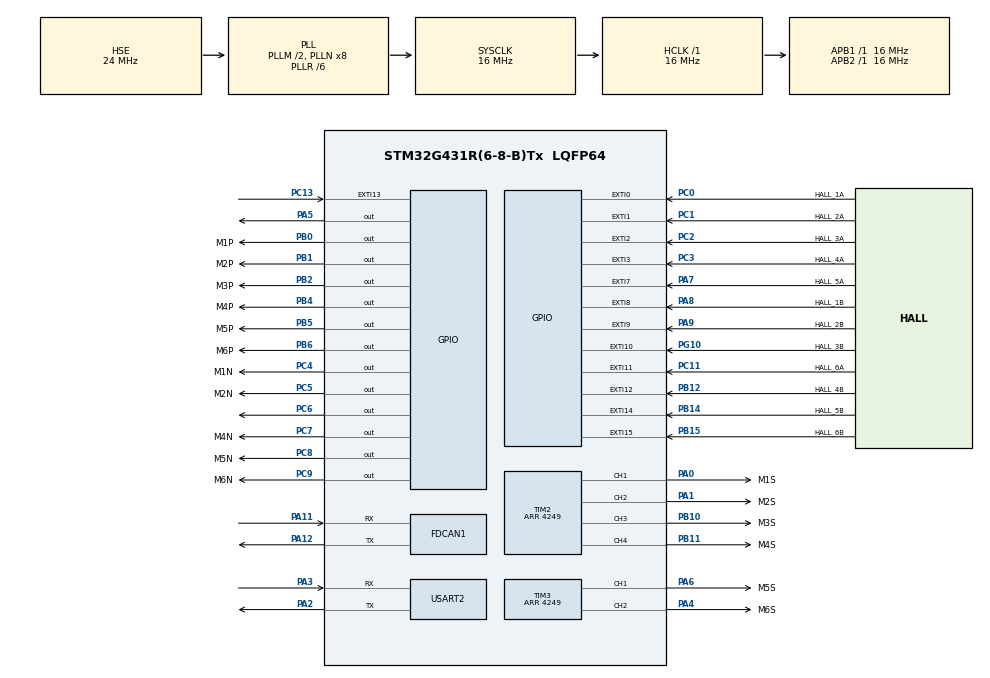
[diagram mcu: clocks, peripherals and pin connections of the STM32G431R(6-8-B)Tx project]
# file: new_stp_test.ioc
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FDCAN1.CalculateBaudRateNominal=125000
FDCAN1.CalculateTimeBitNominal=8000
FDCAN1.CalculateTimeQuantumNominal=500.0
FDCAN1.NominalPrescaler=8
FDCAN1.NominalTimeSeg1=11
FDCAN1.NominalTimeSeg2=4
Mcu.Family=STM32G4
Mcu.Name=STM32G431R(6-8-B)Tx
Mcu.Package=LQFP64
NUCLEO-G431RB.BUTTON=1
NUCLEO-G431RB.LD1=true
NUCLEO-G431RB.VCP=true
NVIC.EXTI0_IRQn=true\:0\:0\:false\:false\:true\:true\:true\:true
NVIC.EXTI15_10_IRQn=true\:0\:0\:false\:false\:true\:false\:true\:true
NVIC.EXTI1_IRQn=true\:0\:0\:false\:false\:true\:true\:true\:true
NVIC.EXTI2_IRQn=true\:0\:0\:false\:false\:true\:true\:true\:true
NVIC.EXTI3_IRQn=true\:0\:0\:false\:false\:true\:true\:true\:true
NVIC.PriorityGroup=NVIC_PRIORITYGROUP_4
PA0.GPIO_Label=M1S
PA0.Signal=S_TIM2_CH1
PA1.GPIO_Label=M2S
PA1.Signal=S_TIM2_CH2
PA11.Mode=FDCAN_Activate
PA11.Signal=FDCAN1_RX
PA12.Mode=FDCAN_Activate
PA12.Signal=FDCAN1_TX
PA13.GPIO_Label=T_SWDIO
PA13.Signal=SYS_JTMS-SWDIO
PA14.GPIO_Label=T_SWCLK
PA14.Signal=SYS_JTCK-SWCLK
PA2.Mode=Asynchronous
PA2.Signal=USART2_TX
PA3.Mode=Asynchronous
PA3.Signal=USART2_RX
PA4.GPIO_Label=M6S
PA4.Signal=S_TIM3_CH2
PA5.Signal=GPIO_Output
PA6.GPIO_Label=M5S
PA6.Signal=S_TIM3_CH1
PA7.GPIO_Label=HALL_5A
PA7.GPIO_ModeDefaultEXTI=GPIO_MODE_IT_RISING_FALLING
PA7.GPIO_PuPd=GPIO_PULLUP
PA7.Signal=GPXTI7
PA8.GPIO_Label=HALL_1B
PA8.GPIO_ModeDefaultEXTI=GPIO_MODE_IT_RISING_FALLING
PA8.GPIO_PuPd=GPIO_PULLUP
PA8.Signal=GPXTI8
PA9.GPIO_Label=HALL_2B
PA9.GPIO_ModeDefaultEXTI=GPIO_MODE_IT_RISING_FALLING
PA9.GPIO_PuPd=GPIO_PULLUP
PA9.Signal=GPXTI9
PB0.GPIO_Label=M1P
PB0.Signal=GPIO_Output
PB1.GPIO_Label=M2P
PB1.Signal=GPIO_Output
PB10.GPIO_Label=M3S
PB10.Signal=S_TIM2_CH3
PB11.GPIO_Label=M4S
PB11.Signal=S_TIM2_CH4
PB12.GPIO_Label=HALL_4B
PB12.GPIO_ModeDefaultEXTI=GPIO_MODE_IT_RISING_FALLING
PB12.GPIO_PuPd=GPIO_PULLUP
PB12.Signal=GPXTI12
PB14.GPIO_Label=HALL_5B
PB14.GPIO_ModeDefaultEXTI=GPIO_MODE_IT_RISING_FALLING
PB14.GPIO_PuPd=GPIO_PULLUP
PB14.Signal=GPXTI14
PB15.GPIO_Label=HALL_6B
PB15.GPIO_ModeDefaultEXTI=GPIO_MODE_IT_RISING_FALLING
PB15.GPIO_PuPd=GPIO_PULLUP
PB15.Signal=GPXTI15
PB2.GPIO_Label=M3P
PB2.Signal=GPIO_Output
PB3.GPIO_Label=T_SWO
PB3.Signal=SYS_JTDO-SWO
PB4.GPIO_Label=M4P
PB4.Signal=GPIO_Output
PB5.GPIO_Label=M5P
PB5.Signal=GPIO_Output
PB6.GPIO_Label=M6P
PB6.Signal=GPIO_Output
PC0.GPIO_Label=HALL_1A
PC0.GPIO_ModeDefaultEXTI=GPIO_MODE_IT_RISING_FALLING
PC0.GPIO_PuPd=GPIO_PULLUP
PC0.Signal=GPXTI0
PC1.GPIO_Label=HALL_2A
PC1.GPIO_ModeDefaultEXTI=GPIO_MODE_IT_RISING_FALLING
PC1.GPIO_PuPd=GPIO_PULLUP
PC1.Signal=GPXTI1
PC11.GPIO_Label=HALL_6A
PC11.GPIO_ModeDefaultEXTI=GPIO_MODE_IT_RISING_FALLING
PC11.GPIO_PuPd=GPIO_PULLUP
PC11.Signal=GPXTI11
PC13.Signal=GPXTI13
PC14-OSC32_IN.GPIO_Label=RCC_OSC32_OUT
PC14-OSC32_IN.Signal=RCC_OSC32_IN
PC15-OSC32_OUT.GPIO_Label=RCC_OSC32_OUT
PC15-OSC32_OUT.Signal=RCC_OSC32_OUT
PC2.GPIO_Label=HALL_3A
PC2.GPIO_ModeDefaultEXTI=GPIO_MODE_IT_RISING_FALLING
PC2.GPIO_PuPd=GPIO_PULLUP
PC2.Signal=GPXTI2
PC3.GPIO_Label=HALL_4A
PC3.GPIO_ModeDefaultEXTI=GPIO_MODE_IT_RISING_FALLING
PC3.GPIO_PuPd=GPIO_PULLUP
PC3.Signal=GPXTI3
PC4.GPIO_Label=M1N
PC4.Signal=GPIO_Output
PC5.GPIO_Label=M2N
PC5.Signal=GPIO_Output
PC6.Signal=GPIO_Output
PC7.GPIO_Label=M4N
PC7.Signal=GPIO_Output
PC8.GPIO_Label=M5N
PC8.Signal=GPIO_Output
PC9.GPIO_Label=M6N
PC9.Signal=GPIO_Output
PF0-OSC_IN.GPIO_Label=RCC_OSC_IN
PF0-OSC_IN.Mode=HSE-External-Oscillator
PF0-OSC_IN.Signal=RCC_OSC_IN
PF1-OSC_OUT.GPIO_Label=RCC_OSC_OUT
PF1-OSC_OUT.Mode=HSE-External-Oscillator
PF1-OSC_OUT.Signal=RCC_OSC_OUT
PG10-NRST.GPIO_Label=HALL_3B
PG10-NRST.GPIO_ModeDefaultEXTI=GPIO_MODE_IT_RISING_FALLING
PG10-NRST.GPIO_PuPd=GPIO_PULLUP
PG10-NRST.Signal=GPXTI10
ProjectManager.HeapSize=0x200
ProjectManager.StackSize=0x400
ProjectManager.TargetToolchain=STM32CubeIDE
RCC.ADC12Freq_Value=16000000
RCC.AHBFreq_Value=16000000
RCC.APB1Freq_Value=16000000
RCC.APB1TimFreq_Value=16000000
RCC.APB2Freq_Value=16000000
RCC.APB2TimFreq_Value=16000000
RCC.CortexFreq_Value=16000000
RCC.EXTERNAL_CLOCK_VALUE=12288000
RCC.HCLKFreq_Value=16000000
RCC.HSE_VALUE=24000000
RCC.HSI48_VALUE=48000000
RCC.HSI_VALUE=16000000
RCC.LSE_VALUE=32768
RCC.PLLM=RCC_PLLM_DIV2
RCC.PLLR=RCC_PLLR_DIV6
RCC.PLLSourceVirtual=RCC_PLLSOURCE_HSE
RCC.RTCClockSelection=RCC_RTCCLKSOURCE_LSE
RCC.SYSCLKFreq_VALUE=16000000
RCC.SYSCLKSource=RCC_SYSCLKSOURCE_PLLCLK
RCC.USBFreq_Value=48000000
RCC.VCOOutputFreq_Value=96000000
SH.S_TIM2_CH1.0=TIM2_CH1,PWM Generation1 CH1
SH.S_TIM2_CH2.0=TIM2_CH2,PWM Generation2 CH2
SH.S_TIM2_CH3.0=TIM2_CH3,PWM Generation3 CH3
SH.S_TIM2_CH4.0=TIM2_CH4,PWM Generation4 CH4
SH.S_TIM3_CH1.0=TIM3_CH1,PWM Generation1 CH1
SH.S_TIM3_CH2.0=TIM3_CH2,PWM Generation2 CH2
TIM1.Channel-PWM\ Generation1\ No\ Output=TIM_CHANNEL_1
TIM1.CounterMode=TIM_COUNTERMODE_CENTERALIGNED3
TIM1.PeriodNoDither=4249
TIM1.TIM_MasterOutputTrigger=TIM_TRGO_UPDATE
TIM1.TIM_MasterSlaveMode=TIM_MASTERSLAVEMODE_ENABLE
TIM2.Channel-PWM\ Generation1\ CH1=TIM_CHANNEL_1
TIM2.Channel-PWM\ Generation2\ CH2=TIM_CHANNEL_2
TIM2.Channel-PWM\ Generation3\ CH3=TIM_CHANNEL_3
TIM2.Channel-PWM\ Generation4\ CH4=TIM_CHANNEL_4
TIM2.CounterMode=TIM_COUNTERMODE_CENTERALIGNED3
TIM2.PeriodNoDither=4249
TIM2.PulseNoDither_2=2125
TIM2.PulseNoDither_3=2125
TIM2.PulseNoDither_4=2125
TIM3.Channel-PWM\ Generation1\ CH1=TIM_CHANNEL_1
TIM3.Channel-PWM\ Generation2\ CH2=TIM_CHANNEL_2
TIM3.CounterMode=TIM_COUNTERMODE_CENTERALIGNED3
TIM3.PeriodNoDither=4249
TIM3.PulseNoDither_1=2125
TIM3.PulseNoDither_2=2125
USART2.VirtualMode-Asynchronous=VM_ASYNC
VP_NUCLEO-G431RB_VS_BSP_COMMON.Mode=COMMON
VP_SYS_VS_DBSignals.Mode=DisableDeadBatterySignals
VP_TIM1_VS_ClockSourceINT.Mode=Internal
VP_TIM1_VS_no_output1.Mode=PWM Generation1 No Output
VP_TIM2_VS_ClockSourceINT.Mode=Internal
VP_TIM2_VS_ClockSourceITR.Mode=TriggerSource_ITR0
VP_TIM2_VS_ControllerModeReset.Mode=Reset Mode
VP_TIM3_VS_ClockSourceINT.Mode=Internal
VP_TIM3_VS_ClockSourceITR.Mode=TriggerSource_ITR0
VP_TIM3_VS_ControllerModeReset.Mode=Reset Mode
board=NUCLEO-G431RB

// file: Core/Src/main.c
/* USER CODE BEGIN Header */
/**
  ******************************************************************************
  * @file           : main.c
  * @brief          : Main program body
  ******************************************************************************
  * @attention
  *
  * Copyright (c) 2026 STMicroelectronics.
  * All rights reserved.
  *
  * This software is licensed under terms that can be found in the LICENSE file
  * in the root directory of this software component.
  * If no LICENSE file comes with this software, it is provided AS-IS.
  *
  ******************************************************************************
  */
/* USER CODE END Header */
#include "main.h"

COM_InitTypeDef BspCOMInit;
FDCAN_HandleTypeDef hfdcan1;

TIM_HandleTypeDef htim1;
TIM_HandleTypeDef htim2;
TIM_HandleTypeDef htim3;

UART_HandleTypeDef huart2;

/* USER CODE BEGIN PV */

//TIMERS
typedef struct {
    uint32_t now;
    uint32_t sec_marker;
    uint32_t count;
} timer;

volatile timer timer1;
volatile timer timer2;
volatile timer timer3_CAN_UDS;
volatile uint8_t timer1_flag = 0U;

//Motor states and stuff
typedef enum {
	SLEEP_STANDBY, // 0 0
	FORWARD_STANDBY, // 1 0
	BACKWARD_STANDBY, // 0 1
	FORWARD,
    BACKWARD,
    BRAKE,
} motor_state;

typedef struct{
	uint16_t ticks;
	uint16_t motorspeed;
} motor;

uint8_t mode = 1;

uint32_t full_cycle =  4249;

uint32_t p_pins = GPIO_PIN_0 | GPIO_PIN_1 | GPIO_PIN_2 | GPIO_PIN_4 | GPIO_PIN_5 | GPIO_PIN_6;
uint32_t n_pins = GPIO_PIN_4 | GPIO_PIN_5 | GPIO_PIN_6 | GPIO_PIN_7 | GPIO_PIN_8 | GPIO_PIN_9;
motor_state STP_dir;

uint8_t state = 0;

static motor motor1;
static motor motor2;
static motor motor3;
static motor motor4;
static motor motor5;
static motor motor6;
//
//Motor states and stuff

//

/* USER CODE END PV */

void SystemClock_Config(void);
static void MX_GPIO_Init(void);
static void MX_FDCAN1_Init(void);
static void MX_TIM1_Init(void);
static void MX_TIM2_Init(void);
static void MX_TIM3_Init(void);
static void MX_USART2_UART_Init(void);
/* USER CODE BEGIN PFP */
timer start_timer()
{
	timer timer;
    timer.now = HAL_GetTick();
    timer.sec_marker = 0U;
    timer.count = 0;
    return timer;
}

uint32_t elapsed(timer timer)
{
    return (uint32_t)(HAL_GetTick() - timer.now);
}

void go(){
	if(STP_dir == FORWARD_STANDBY){
	}

	if(STP_dir == BACKWARD_STANDBY){
		  GPIOB -> BSRR = p_pins;
		  GPIOC -> BSRR = (n_pins << 16);

	}
	if(STP_dir == SLEEP_STANDBY){
		  GPIOB -> BSRR = p_pins;

	}

	      HAL_TIM_PWM_Start(&htim2, TIM_CHANNEL_1);
		  HAL_TIM_PWM_Start(&htim2, TIM_CHANNEL_2);
		  HAL_TIM_PWM_Start(&htim2, TIM_CHANNEL_3);
		  HAL_TIM_PWM_Start(&htim2, TIM_CHANNEL_4);

		  HAL_TIM_PWM_Start(&htim3, TIM_CHANNEL_1);
		  HAL_TIM_PWM_Start(&htim3, TIM_CHANNEL_2);

		  HAL_TIM_PWM_Start(&htim1, TIM_CHANNEL_1);

		  STP_dir = FORWARD;

}

void back(){
	if(STP_dir == FORWARD_STANDBY){
		  GPIOC -> BSRR = n_pins;
		  GPIOB -> BSRR = (p_pins << 16);
	}
	if(STP_dir == SLEEP_STANDBY){
		  GPIOC -> BSRR = n_pins;
	}

	if(STP_dir == BACKWARD_STANDBY){

	}

	      HAL_TIM_PWM_Start(&htim2, TIM_CHANNEL_1);
		  HAL_TIM_PWM_Start(&htim2, TIM_CHANNEL_2);
		  HAL_TIM_PWM_Start(&htim2, TIM_CHANNEL_3);
		  HAL_TIM_PWM_Start(&htim2, TIM_CHANNEL_4);

		  HAL_TIM_PWM_Start(&htim3, TIM_CHANNEL_1);
		  HAL_TIM_PWM_Start(&htim3, TIM_CHANNEL_2);

		  HAL_TIM_PWM_Start(&htim1, TIM_CHANNEL_1);
		  STP_dir = BACKWARD;

}

void brake(){
	if(STP_dir == FORWARD){
		GPIOC -> BSRR = n_pins;
	}
	if(STP_dir == BACKWARD){
		GPIOB -> BSRR = p_pins;
	}

	STP_dir = BRAKE;
}

void sleep(){
	  HAL_TIM_PWM_Stop(&htim1, TIM_CHANNEL_1);   // master first
	  HAL_TIM_PWM_Stop(&htim2, TIM_CHANNEL_1);
	  HAL_TIM_PWM_Stop(&htim2, TIM_CHANNEL_2);
	  HAL_TIM_PWM_Stop(&htim2, TIM_CHANNEL_3);
	  HAL_TIM_PWM_Stop(&htim2, TIM_CHANNEL_4);

	  HAL_TIM_PWM_Stop(&htim3, TIM_CHANNEL_1);
	  HAL_TIM_PWM_Stop(&htim3, TIM_CHANNEL_2);

	  if (STP_dir == BACKWARD){
		  STP_dir = BACKWARD_STANDBY;
	  }

	  if (STP_dir == FORWARD){
		  STP_dir = FORWARD_STANDBY;
	  	  }
	  if (STP_dir == BRAKE){
		  GPIOC -> BSRR = (n_pins << 16);
		  GPIOB -> BSRR = (p_pins << 16);
		  STP_dir = SLEEP_STANDBY;
	  }
}

void changespeed(uint8_t newspeed){
	// new speed in percentage
	if (newspeed>100 || newspeed<0){
		Error_Handler();
	}

	int new_on =  full_cycle*newspeed/100;
	TIM2->CCR1 = new_on;
	TIM2->CCR2 = new_on;
	TIM2->CCR3 = new_on;
	TIM2->CCR4 = new_on;
	TIM3->CCR1 = new_on;
	TIM3->CCR2 = new_on;

}
/*
void brake_single_motor(motor motor){
	switch (n){

	case motor1:

	}

}
*/

void go_increment(increment){
	go();
}

void testCAN()
{

}

/* USER CODE END PFP */

/* USER CODE BEGIN 0 */
int _write(int file, char *ptr, int len)
{
    (void)file;

    if (len <= 0) {
        return 0;
    }

    if (HAL_UART_Transmit(&huart2,
                         (uint8_t *)ptr,
                         (uint16_t)len,
                         HAL_MAX_DELAY) == HAL_OK) {
        return len;
    }

    return -1;
}

/* USER CODE END 0 */

int main(void)
{

  /* MCU Configuration--------------------------------------------------------*/

  /* Reset of all peripherals, Initializes the Flash interface and the Systick. */
  HAL_Init();

  /* USER CODE BEGIN Init */
  //uint32_t now = HAL_GetTick();
  /* USER CODE END Init */

  /* Configure the system clock */
  SystemClock_Config();

  /* Initialize all configured peripherals */
  MX_GPIO_Init();
  MX_FDCAN1_Init();
  MX_TIM1_Init();
  MX_TIM2_Init();
  MX_TIM3_Init();
  MX_USART2_UART_Init();
  /* USER CODE BEGIN 2 */
  HAL_UART_Transmit(
      &huart2,
      (uint8_t *)"STM32 started\r\n",
      sizeof("STM32 started\r\n") - 1,
      HAL_MAX_DELAY
  );

  /* USER CODE END 2 */

  /* Initialize leds */
  BSP_LED_Init(LED_GREEN);

//  /* Initialize USER push-button, will be used to trigger an interrupt each time it's pressed.*/
//  BSP_PB_Init(BUTTON_USER, BUTTON_MODE_EXTI);
//
//  /* Initialize COM1 port (115200, 8 bits (7-bit data + 1 stop bit), no parity */
//  BspCOMInit.BaudRate   = 115200;
//  BspCOMInit.WordLength = COM_WORDLENGTH_8B;
//  BspCOMInit.StopBits   = COM_STOPBITS_1;
//  BspCOMInit.Parity     = COM_PARITY_NONE;
//  BspCOMInit.HwFlowCtl  = COM_HWCONTROL_NONE;
//  if (BSP_COM_Init(COM1, &BspCOMInit) != BSP_ERROR_NONE)
//  {
//    Error_Handler();
//  }

  /* Infinite loop */
  /* USER CODE BEGIN WHILE */
  HAL_FDCAN_Start(&hfdcan1);

  FDCAN_TxHeaderTypeDef count;

  count.Identifier = 0x123;
  count.IdType = FDCAN_STANDARD_ID;
  count.TxFrameType = FDCAN_DATA_FRAME;
  count.DataLength = FDCAN_DLC_BYTES_8;
  count.ErrorStateIndicator = FDCAN_ESI_ACTIVE;
  count.BitRateSwitch = FDCAN_BRS_OFF;
  count.FDFormat = FDCAN_CLASSIC_CAN;
  count.TxEventFifoControl = FDCAN_NO_TX_EVENTS;
  count.MessageMarker = 0;
  uint8_t CAN_counter = 0;
  static char uart_buffer[64];
  back();
  HAL_UART_Transmit(
        &huart2,
        (uint8_t *)"go done\r\n",
        sizeof("go done\r\n") - 1,
        HAL_MAX_DELAY
    );

  while (1)
  {

	  //Task 1: LED toggle
	  	  uint32_t elapsed_time2 = elapsed(timer2);
	  	      if (elapsed_time2 - timer2.sec_marker >= 50U){
	  	    	  //BSP_LED_Toggle(LED_GREEN);
	  	    	  timer2.sec_marker += 50U;
	  	      }

	  //Task 2 (Interrupt): Uart Signalling

		  uint32_t elapsed_time = elapsed(timer1);
	      if (elapsed_time - timer1.sec_marker >= 1000U){

	    	  timer1.sec_marker += 1000U;
			  timer1.count++;
			  int length = snprintf(
			  					  uart_buffer,
			  					  sizeof(uart_buffer),
			  					  "%lu, %lu\r\n",(unsigned long)(motor1.ticks),
			  					  (unsigned long)(motor2.ticks)
			  					  );

			  HAL_UART_Transmit(
					  &huart2,
					  (uint8_t *)uart_buffer,
					  length,
					  HAL_MAX_DELAY
					  );
	      }

	  //Task 3: CAN transmit
	  uint32_t elapsed_timeCAN = elapsed(timer3_CAN_UDS);
	  if (elapsed_timeCAN - timer3_CAN_UDS.sec_marker >= 1000U){
		  uint8_t countData[8];
		  countData[0] = CAN_counter++;
	      countData[1] = 0;
		  countData[2] = 0;
		  countData[3] = 0;
		  countData[4] = 0;
		  countData[5] = 0;
		  countData[6] = 0;
		  countData[7] = 0;
		  HAL_StatusTypeDef txStatus =
			  HAL_FDCAN_AddMessageToTxFifoQ(
				  &hfdcan1,
				  &count,
				  countData
				  );
		  timer3_CAN_UDS.sec_marker += 1000U;

		}

    /* USER CODE END WHILE */

}
}

void SystemClock_Config(void)
{
  RCC_OscInitTypeDef RCC_OscInitStruct = {0};
  RCC_ClkInitTypeDef RCC_ClkInitStruct = {0};

  /** Configure the main internal regulator output voltage
  */
  HAL_PWREx_ControlVoltageScaling(PWR_REGULATOR_VOLTAGE_SCALE1);

  /** Initializes the RCC Oscillators according to the specified parameters
  * in the RCC_OscInitTypeDef structure.
  */
  RCC_OscInitStruct.OscillatorType = RCC_OSCILLATORTYPE_HSE;
  RCC_OscInitStruct.HSEState = RCC_HSE_ON;
  RCC_OscInitStruct.PLL.PLLState = RCC_PLL_ON;
  RCC_OscInitStruct.PLL.PLLSource = RCC_PLLSOURCE_HSE;
  RCC_OscInitStruct.PLL.PLLM = RCC_PLLM_DIV2;
  RCC_OscInitStruct.PLL.PLLN = 8;
  RCC_OscInitStruct.PLL.PLLP = RCC_PLLP_DIV2;
  RCC_OscInitStruct.PLL.PLLQ = RCC_PLLQ_DIV2;
  RCC_OscInitStruct.PLL.PLLR = RCC_PLLR_DIV6;
  if (HAL_RCC_OscConfig(&RCC_OscInitStruct) != HAL_OK)
  {
    Error_Handler();
  }

  /** Initializes the CPU, AHB and APB buses clocks
  */
  RCC_ClkInitStruct.ClockType = RCC_CLOCKTYPE_HCLK|RCC_CLOCKTYPE_SYSCLK
                              |RCC_CLOCKTYPE_PCLK1|RCC_CLOCKTYPE_PCLK2;
  RCC_ClkInitStruct.SYSCLKSource = RCC_SYSCLKSOURCE_PLLCLK;
  RCC_ClkInitStruct.AHBCLKDivider = RCC_SYSCLK_DIV1;
  RCC_ClkInitStruct.APB1CLKDivider = RCC_HCLK_DIV1;
  RCC_ClkInitStruct.APB2CLKDivider = RCC_HCLK_DIV1;

  if (HAL_RCC_ClockConfig(&RCC_ClkInitStruct, FLASH_LATENCY_0) != HAL_OK)
  {
    Error_Handler();
  }
}

static void MX_FDCAN1_Init(void)
{

  hfdcan1.Instance = FDCAN1;
  hfdcan1.Init.ClockDivider = FDCAN_CLOCK_DIV1;
  hfdcan1.Init.FrameFormat = FDCAN_FRAME_CLASSIC;
  hfdcan1.Init.Mode = FDCAN_MODE_NORMAL;
  hfdcan1.Init.AutoRetransmission = DISABLE;
  hfdcan1.Init.TransmitPause = DISABLE;
  hfdcan1.Init.ProtocolException = DISABLE;
  hfdcan1.Init.NominalPrescaler = 8;
  hfdcan1.Init.NominalSyncJumpWidth = 1;
  hfdcan1.Init.NominalTimeSeg1 = 11;
  hfdcan1.Init.NominalTimeSeg2 = 4;
  hfdcan1.Init.DataPrescaler = 1;
  hfdcan1.Init.DataSyncJumpWidth = 1;
  hfdcan1.Init.DataTimeSeg1 = 1;
  hfdcan1.Init.DataTimeSeg2 = 1;
  hfdcan1.Init.StdFiltersNbr = 0;
  hfdcan1.Init.ExtFiltersNbr = 0;
  hfdcan1.Init.TxFifoQueueMode = FDCAN_TX_FIFO_OPERATION;
  if (HAL_FDCAN_Init(&hfdcan1) != HAL_OK)
  {
    Error_Handler();
  }

}

static void MX_TIM1_Init(void)
{

  TIM_ClockConfigTypeDef sClockSourceConfig = {0};
  TIM_MasterConfigTypeDef sMasterConfig = {0};
  TIM_OC_InitTypeDef sConfigOC = {0};
  TIM_BreakDeadTimeConfigTypeDef sBreakDeadTimeConfig = {0};

  htim1.Instance = TIM1;
  htim1.Init.Prescaler = 0;
  htim1.Init.CounterMode = TIM_COUNTERMODE_CENTERALIGNED3;
  htim1.Init.Period = 4249;
  htim1.Init.ClockDivision = TIM_CLOCKDIVISION_DIV1;
  htim1.Init.RepetitionCounter = 0;
  htim1.Init.AutoReloadPreload = TIM_AUTORELOAD_PRELOAD_DISABLE;
  if (HAL_TIM_Base_Init(&htim1) != HAL_OK)
  {
    Error_Handler();
  }
  sClockSourceConfig.ClockSource = TIM_CLOCKSOURCE_INTERNAL;
  if (HAL_TIM_ConfigClockSource(&htim1, &sClockSourceConfig) != HAL_OK)
  {
    Error_Handler();
  }
  if (HAL_TIM_PWM_Init(&htim1) != HAL_OK)
  {
    Error_Handler();
  }
  sMasterConfig.MasterOutputTrigger = TIM_TRGO_UPDATE;
  sMasterConfig.MasterOutputTrigger2 = TIM_TRGO2_RESET;
  sMasterConfig.MasterSlaveMode = TIM_MASTERSLAVEMODE_ENABLE;
  if (HAL_TIMEx_MasterConfigSynchronization(&htim1, &sMasterConfig) != HAL_OK)
  {
    Error_Handler();
  }
  sConfigOC.OCMode = TIM_OCMODE_PWM1;
  sConfigOC.Pulse = 0;
  sConfigOC.OCPolarity = TIM_OCPOLARITY_HIGH;
  sConfigOC.OCNPolarity = TIM_OCNPOLARITY_HIGH;
  sConfigOC.OCFastMode = TIM_OCFAST_DISABLE;
  sConfigOC.OCIdleState = TIM_OCIDLESTATE_RESET;
  sConfigOC.OCNIdleState = TIM_OCNIDLESTATE_RESET;
  if (HAL_TIM_PWM_ConfigChannel(&htim1, &sConfigOC, TIM_CHANNEL_1) != HAL_OK)
  {
    Error_Handler();
  }
  sBreakDeadTimeConfig.OffStateRunMode = TIM_OSSR_DISABLE;
  sBreakDeadTimeConfig.OffStateIDLEMode = TIM_OSSI_DISABLE;
  sBreakDeadTimeConfig.LockLevel = TIM_LOCKLEVEL_OFF;
  sBreakDeadTimeConfig.DeadTime = 0;
  sBreakDeadTimeConfig.BreakState = TIM_BREAK_DISABLE;
  sBreakDeadTimeConfig.BreakPolarity = TIM_BREAKPOLARITY_HIGH;
  sBreakDeadTimeConfig.BreakFilter = 0;
  sBreakDeadTimeConfig.BreakAFMode = TIM_BREAK_AFMODE_INPUT;
  sBreakDeadTimeConfig.Break2State = TIM_BREAK2_DISABLE;
  sBreakDeadTimeConfig.Break2Polarity = TIM_BREAK2POLARITY_HIGH;
  sBreakDeadTimeConfig.Break2Filter = 0;
  sBreakDeadTimeConfig.Break2AFMode = TIM_BREAK_AFMODE_INPUT;
  sBreakDeadTimeConfig.AutomaticOutput = TIM_AUTOMATICOUTPUT_DISABLE;
  if (HAL_TIMEx_ConfigBreakDeadTime(&htim1, &sBreakDeadTimeConfig) != HAL_OK)
  {
    Error_Handler();
  }

}

static void MX_TIM2_Init(void)
{

  TIM_ClockConfigTypeDef sClockSourceConfig = {0};
  TIM_SlaveConfigTypeDef sSlaveConfig = {0};
  TIM_MasterConfigTypeDef sMasterConfig = {0};
  TIM_OC_InitTypeDef sConfigOC = {0};

  htim2.Instance = TIM2;
  htim2.Init.Prescaler = 0;
  htim2.Init.CounterMode = TIM_COUNTERMODE_CENTERALIGNED3;
  htim2.Init.Period = 4249;
  htim2.Init.ClockDivision = TIM_CLOCKDIVISION_DIV1;
  htim2.Init.AutoReloadPreload = TIM_AUTORELOAD_PRELOAD_DISABLE;
  if (HAL_TIM_Base_Init(&htim2) != HAL_OK)
  {
    Error_Handler();
  }
  sClockSourceConfig.ClockSource = TIM_CLOCKSOURCE_INTERNAL;
  if (HAL_TIM_ConfigClockSource(&htim2, &sClockSourceConfig) != HAL_OK)
  {
    Error_Handler();
  }
  if (HAL_TIM_PWM_Init(&htim2) != HAL_OK)
  {
    Error_Handler();
  }
  sSlaveConfig.SlaveMode = TIM_SLAVEMODE_RESET;
  sSlaveConfig.InputTrigger = TIM_TS_ITR0;
  if (HAL_TIM_SlaveConfigSynchro(&htim2, &sSlaveConfig) != HAL_OK)
  {
    Error_Handler();
  }
  sMasterConfig.MasterOutputTrigger = TIM_TRGO_RESET;
  sMasterConfig.MasterSlaveMode = TIM_MASTERSLAVEMODE_DISABLE;
  if (HAL_TIMEx_MasterConfigSynchronization(&htim2, &sMasterConfig) != HAL_OK)
  {
    Error_Handler();
  }
  sConfigOC.OCMode = TIM_OCMODE_PWM1;
  sConfigOC.Pulse = 0;
  sConfigOC.OCPolarity = TIM_OCPOLARITY_HIGH;
  sConfigOC.OCFastMode = TIM_OCFAST_DISABLE;
  if (HAL_TIM_PWM_ConfigChannel(&htim2, &sConfigOC, TIM_CHANNEL_1) != HAL_OK)
  {
    Error_Handler();
  }
  sConfigOC.Pulse = 2125;
  if (HAL_TIM_PWM_ConfigChannel(&htim2, &sConfigOC, TIM_CHANNEL_2) != HAL_OK)
  {
    Error_Handler();
  }
  if (HAL_TIM_PWM_ConfigChannel(&htim2, &sConfigOC, TIM_CHANNEL_3) != HAL_OK)
  {
    Error_Handler();
  }
  if (HAL_TIM_PWM_ConfigChannel(&htim2, &sConfigOC, TIM_CHANNEL_4) != HAL_OK)
  {
    Error_Handler();
  }
  HAL_TIM_MspPostInit(&htim2);

}

static void MX_TIM3_Init(void)
{

  TIM_ClockConfigTypeDef sClockSourceConfig = {0};
  TIM_SlaveConfigTypeDef sSlaveConfig = {0};
  TIM_MasterConfigTypeDef sMasterConfig = {0};
  TIM_OC_InitTypeDef sConfigOC = {0};

  htim3.Instance = TIM3;
  htim3.Init.Prescaler = 0;
  htim3.Init.CounterMode = TIM_COUNTERMODE_CENTERALIGNED3;
  htim3.Init.Period = 4249;
  htim3.Init.ClockDivision = TIM_CLOCKDIVISION_DIV1;
  htim3.Init.AutoReloadPreload = TIM_AUTORELOAD_PRELOAD_DISABLE;
  if (HAL_TIM_Base_Init(&htim3) != HAL_OK)
  {
    Error_Handler();
  }
  sClockSourceConfig.ClockSource = TIM_CLOCKSOURCE_INTERNAL;
  if (HAL_TIM_ConfigClockSource(&htim3, &sClockSourceConfig) != HAL_OK)
  {
    Error_Handler();
  }
  if (HAL_TIM_PWM_Init(&htim3) != HAL_OK)
  {
    Error_Handler();
  }
  sSlaveConfig.SlaveMode = TIM_SLAVEMODE_RESET;
  sSlaveConfig.InputTrigger = TIM_TS_ITR0;
  if (HAL_TIM_SlaveConfigSynchro(&htim3, &sSlaveConfig) != HAL_OK)
  {
    Error_Handler();
  }
  sMasterConfig.MasterOutputTrigger = TIM_TRGO_RESET;
  sMasterConfig.MasterSlaveMode = TIM_MASTERSLAVEMODE_DISABLE;
  if (HAL_TIMEx_MasterConfigSynchronization(&htim3, &sMasterConfig) != HAL_OK)
  {
    Error_Handler();
  }
  sConfigOC.OCMode = TIM_OCMODE_PWM1;
  sConfigOC.Pulse = 2125;
  sConfigOC.OCPolarity = TIM_OCPOLARITY_HIGH;
  sConfigOC.OCFastMode = TIM_OCFAST_DISABLE;
  if (HAL_TIM_PWM_ConfigChannel(&htim3, &sConfigOC, TIM_CHANNEL_1) != HAL_OK)
  {
    Error_Handler();
  }
  if (HAL_TIM_PWM_ConfigChannel(&htim3, &sConfigOC, TIM_CHANNEL_2) != HAL_OK)
  {
    Error_Handler();
  }
  HAL_TIM_MspPostInit(&htim3);

}

static void MX_USART2_UART_Init(void)
{

  huart2.Instance = USART2;
  huart2.Init.BaudRate = 115200;
  huart2.Init.WordLength = UART_WORDLENGTH_8B;
  huart2.Init.StopBits = UART_STOPBITS_1;
  huart2.Init.Parity = UART_PARITY_NONE;
  huart2.Init.Mode = UART_MODE_TX_RX;
  huart2.Init.HwFlowCtl = UART_HWCONTROL_NONE;
  huart2.Init.OverSampling = UART_OVERSAMPLING_16;
  huart2.Init.OneBitSampling = UART_ONE_BIT_SAMPLE_DISABLE;
  huart2.Init.ClockPrescaler = UART_PRESCALER_DIV1;
  huart2.AdvancedInit.AdvFeatureInit = UART_ADVFEATURE_NO_INIT;
  if (HAL_UART_Init(&huart2) != HAL_OK)
  {
    Error_Handler();
  }
  if (HAL_UARTEx_SetTxFifoThreshold(&huart2, UART_TXFIFO_THRESHOLD_1_8) != HAL_OK)
  {
    Error_Handler();
  }
  if (HAL_UARTEx_SetRxFifoThreshold(&huart2, UART_RXFIFO_THRESHOLD_1_8) != HAL_OK)
  {
    Error_Handler();
  }
  if (HAL_UARTEx_DisableFifoMode(&huart2) != HAL_OK)
  {
    Error_Handler();
  }

}

static void MX_GPIO_Init(void)
{
  GPIO_InitTypeDef GPIO_InitStruct = {0};

  /* GPIO Ports Clock Enable */
  __HAL_RCC_GPIOC_CLK_ENABLE();
  __HAL_RCC_GPIOF_CLK_ENABLE();
  __HAL_RCC_GPIOG_CLK_ENABLE();
  __HAL_RCC_GPIOA_CLK_ENABLE();
  __HAL_RCC_GPIOB_CLK_ENABLE();

  /*Configure GPIO pin Output Level */
  HAL_GPIO_WritePin(GPIOC, M1N_Pin|M2N_Pin|GPIO_PIN_6|M4N_Pin
                          |M5N_Pin|M6N_Pin, GPIO_PIN_RESET);

  /*Configure GPIO pin Output Level */
  HAL_GPIO_WritePin(GPIOB, M1P_Pin|M2P_Pin|M3P_Pin|M4P_Pin
                          |M5P_Pin|M6P_Pin, GPIO_PIN_RESET);

  /*Configure GPIO pin : HALL_3B_Pin */
  GPIO_InitStruct.Pin = HALL_3B_Pin;
  GPIO_InitStruct.Mode = GPIO_MODE_IT_RISING_FALLING;
  GPIO_InitStruct.Pull = GPIO_PULLUP;
  HAL_GPIO_Init(HALL_3B_GPIO_Port, &GPIO_InitStruct);

  /*Configure GPIO pins : HALL_1A_Pin HALL_2A_Pin HALL_3A_Pin HALL_4A_Pin
                           HALL_6A_Pin */
  GPIO_InitStruct.Pin = HALL_1A_Pin|HALL_2A_Pin|HALL_3A_Pin|HALL_4A_Pin
                          |HALL_6A_Pin;
  GPIO_InitStruct.Mode = GPIO_MODE_IT_RISING_FALLING;
  GPIO_InitStruct.Pull = GPIO_PULLUP;
  HAL_GPIO_Init(GPIOC, &GPIO_InitStruct);

  /*Configure GPIO pins : HALL_5A_Pin HALL_1B_Pin HALL_2B_Pin */
  GPIO_InitStruct.Pin = HALL_5A_Pin|HALL_1B_Pin|HALL_2B_Pin;
  GPIO_InitStruct.Mode = GPIO_MODE_IT_RISING_FALLING;
  GPIO_InitStruct.Pull = GPIO_PULLUP;
  HAL_GPIO_Init(GPIOA, &GPIO_InitStruct);

  /*Configure GPIO pins : M1N_Pin M2N_Pin PC6 M4N_Pin
                           M5N_Pin M6N_Pin */
  GPIO_InitStruct.Pin = M1N_Pin|M2N_Pin|GPIO_PIN_6|M4N_Pin
                          |M5N_Pin|M6N_Pin;
  GPIO_InitStruct.Mode = GPIO_MODE_OUTPUT_PP;
  GPIO_InitStruct.Pull = GPIO_NOPULL;
  GPIO_InitStruct.Speed = GPIO_SPEED_FREQ_LOW;
  HAL_GPIO_Init(GPIOC, &GPIO_InitStruct);

  /*Configure GPIO pins : M1P_Pin M2P_Pin M3P_Pin M4P_Pin
                           M5P_Pin M6P_Pin */
  GPIO_InitStruct.Pin = M1P_Pin|M2P_Pin|M3P_Pin|M4P_Pin
                          |M5P_Pin|M6P_Pin;
  GPIO_InitStruct.Mode = GPIO_MODE_OUTPUT_PP;
  GPIO_InitStruct.Pull = GPIO_NOPULL;
  GPIO_InitStruct.Speed = GPIO_SPEED_FREQ_LOW;
  HAL_GPIO_Init(GPIOB, &GPIO_InitStruct);

  /*Configure GPIO pins : HALL_4B_Pin HALL_5B_Pin HALL_6B_Pin */
  GPIO_InitStruct.Pin = HALL_4B_Pin|HALL_5B_Pin|HALL_6B_Pin;
  GPIO_InitStruct.Mode = GPIO_MODE_IT_RISING_FALLING;
  GPIO_InitStruct.Pull = GPIO_PULLUP;
  HAL_GPIO_Init(GPIOB, &GPIO_InitStruct);

  /* EXTI interrupt init*/
  HAL_NVIC_SetPriority(EXTI0_IRQn, 0, 0);
  HAL_NVIC_EnableIRQ(EXTI0_IRQn);

  HAL_NVIC_SetPriority(EXTI1_IRQn, 0, 0);
  HAL_NVIC_EnableIRQ(EXTI1_IRQn);

  HAL_NVIC_SetPriority(EXTI2_IRQn, 0, 0);
  HAL_NVIC_EnableIRQ(EXTI2_IRQn);

  HAL_NVIC_SetPriority(EXTI3_IRQn, 0, 0);
  HAL_NVIC_EnableIRQ(EXTI3_IRQn);

  HAL_NVIC_SetPriority(EXTI15_10_IRQn, 0, 0);
  HAL_NVIC_EnableIRQ(EXTI15_10_IRQn);

}

/* USER CODE BEGIN 4 */
void BSP_PB_Callback(Button_TypeDef Button)
{
    if (Button == BUTTON_USER)
    {
        timer1 = start_timer();
        timer1_flag = 1U;
    }
}

void HAL_GPIO_EXTI_Callback(uint16_t GPIO_Pin)
{
    int8_t edge;

    if (STP_dir == FORWARD) {
        edge = 1;
    }
    else if (STP_dir == BACKWARD) {
        edge = -1;
    }
    else {
        return;
    }

    if ((GPIO_Pin == HALL_1A_Pin) ||
        (GPIO_Pin == HALL_1B_Pin)) {
        motor1.ticks += edge;
    }
    else if ((GPIO_Pin == HALL_2A_Pin) ||
             (GPIO_Pin == HALL_2B_Pin)) {
        motor2.ticks += edge;
    }
    else if ((GPIO_Pin == HALL_3A_Pin) ||
             (GPIO_Pin == HALL_3B_Pin)) {
        motor3.ticks += edge;
    }
    else if ((GPIO_Pin == HALL_4A_Pin) ||
             (GPIO_Pin == HALL_4B_Pin)) {
        motor4.ticks += edge;
    }
    else if ((GPIO_Pin == HALL_5A_Pin) ||
             (GPIO_Pin == HALL_5B_Pin)) {
        motor5.ticks += edge;
    }
    else if ((GPIO_Pin == HALL_6A_Pin) ||
             (GPIO_Pin == HALL_6B_Pin)) {
        motor6.ticks += edge;
    }

	else
	{
      __NOP();
	}
}
/* USER CODE END 4 */

void Error_Handler(void)
{
  __disable_irq();
  while (1)
  {
  }
}
